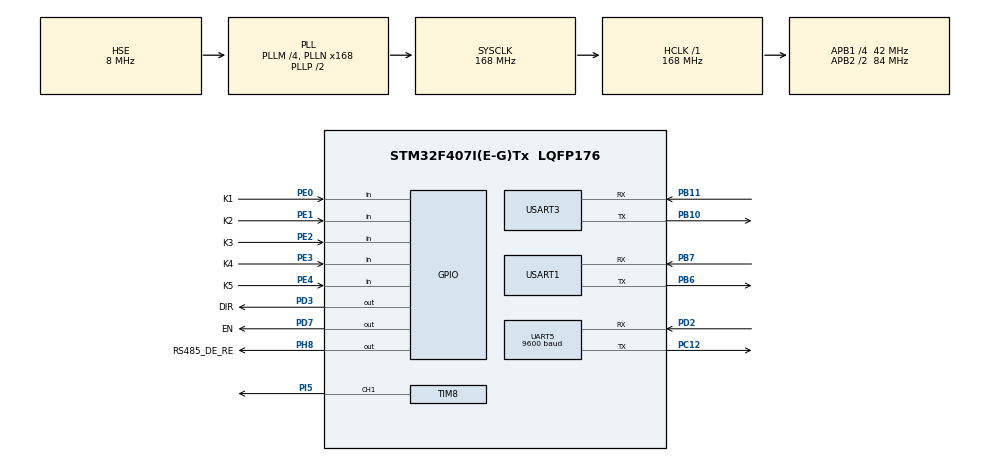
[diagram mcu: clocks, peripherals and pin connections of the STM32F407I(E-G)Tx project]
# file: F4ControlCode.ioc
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Dma.Request0=USART1_RX
Dma.Request1=USART1_TX
Dma.Request2=UART5_RX
Dma.Request3=UART5_TX
Dma.UART5_RX.2.Direction=DMA_PERIPH_TO_MEMORY
Dma.UART5_RX.2.FIFOMode=DMA_FIFOMODE_DISABLE
Dma.UART5_RX.2.Instance=DMA1_Stream0
Dma.UART5_RX.2.MemDataAlignment=DMA_MDATAALIGN_BYTE
Dma.UART5_RX.2.MemInc=DMA_MINC_ENABLE
Dma.UART5_RX.2.Mode=DMA_NORMAL
Dma.UART5_RX.2.PeriphDataAlignment=DMA_PDATAALIGN_BYTE
Dma.UART5_RX.2.PeriphInc=DMA_PINC_DISABLE
Dma.UART5_RX.2.Priority=DMA_PRIORITY_LOW
Dma.UART5_TX.3.Direction=DMA_MEMORY_TO_PERIPH
Dma.UART5_TX.3.FIFOMode=DMA_FIFOMODE_DISABLE
Dma.UART5_TX.3.Instance=DMA1_Stream7
Dma.UART5_TX.3.MemDataAlignment=DMA_MDATAALIGN_BYTE
Dma.UART5_TX.3.MemInc=DMA_MINC_ENABLE
Dma.UART5_TX.3.Mode=DMA_NORMAL
Dma.UART5_TX.3.PeriphDataAlignment=DMA_PDATAALIGN_BYTE
Dma.UART5_TX.3.PeriphInc=DMA_PINC_DISABLE
Dma.UART5_TX.3.Priority=DMA_PRIORITY_LOW
Dma.USART1_RX.0.Direction=DMA_PERIPH_TO_MEMORY
Dma.USART1_RX.0.FIFOMode=DMA_FIFOMODE_DISABLE
Dma.USART1_RX.0.Instance=DMA2_Stream2
Dma.USART1_RX.0.MemDataAlignment=DMA_MDATAALIGN_BYTE
Dma.USART1_RX.0.MemInc=DMA_MINC_ENABLE
Dma.USART1_RX.0.Mode=DMA_NORMAL
Dma.USART1_RX.0.PeriphDataAlignment=DMA_PDATAALIGN_BYTE
Dma.USART1_RX.0.PeriphInc=DMA_PINC_DISABLE
Dma.USART1_RX.0.Priority=DMA_PRIORITY_LOW
Dma.USART1_TX.1.Direction=DMA_MEMORY_TO_PERIPH
Dma.USART1_TX.1.FIFOMode=DMA_FIFOMODE_DISABLE
Dma.USART1_TX.1.Instance=DMA2_Stream7
Dma.USART1_TX.1.MemDataAlignment=DMA_MDATAALIGN_BYTE
Dma.USART1_TX.1.MemInc=DMA_MINC_ENABLE
Dma.USART1_TX.1.Mode=DMA_NORMAL
Dma.USART1_TX.1.PeriphDataAlignment=DMA_PDATAALIGN_BYTE
Dma.USART1_TX.1.PeriphInc=DMA_PINC_DISABLE
Dma.USART1_TX.1.Priority=DMA_PRIORITY_LOW
Mcu.Family=STM32F4
Mcu.Name=STM32F407I(E-G)Tx
Mcu.Package=LQFP176
NVIC.DMA1_Stream0_IRQn=true\:0\:0\:false\:false\:true\:false\:true
NVIC.DMA1_Stream7_IRQn=true\:0\:0\:false\:false\:true\:false\:true
NVIC.DMA2_Stream2_IRQn=true\:0\:0\:false\:false\:true\:false\:true
NVIC.DMA2_Stream7_IRQn=true\:0\:0\:false\:false\:true\:false\:true
NVIC.PriorityGroup=NVIC_PRIORITYGROUP_4
NVIC.TIM8_CC_IRQn=true\:1\:0\:true\:false\:true\:true\:true
NVIC.UART5_IRQn=true\:2\:0\:true\:false\:true\:true\:true
NVIC.USART1_IRQn=true\:3\:0\:true\:false\:true\:true\:true
PA13.Mode=Serial_Wire
PA13.Signal=SYS_JTMS-SWDIO
PA14.Mode=Serial_Wire
PA14.Signal=SYS_JTCK-SWCLK
PB10.Mode=Asynchronous
PB10.Signal=USART3_TX
PB11.Mode=Asynchronous
PB11.Signal=USART3_RX
PB6.Mode=Asynchronous
PB6.Signal=USART1_TX
PB7.Mode=Asynchronous
PB7.Signal=USART1_RX
PC12.Mode=Asynchronous
PC12.Signal=UART5_TX
PD2.Mode=Asynchronous
PD2.Signal=UART5_RX
PD3.GPIO_Label=DIR
PD3.Signal=GPIO_Output
PD7.GPIO_Label=EN
PD7.Signal=GPIO_Output
PE0.GPIO_Label=K1
PE0.GPIO_PuPd=GPIO_PULLUP
PE0.Signal=GPIO_Input
PE1.GPIO_Label=K2
PE1.GPIO_PuPd=GPIO_PULLUP
PE1.Signal=GPIO_Input
PE2.GPIO_Label=K3
PE2.GPIO_PuPd=GPIO_PULLUP
PE2.Signal=GPIO_Input
PE3.GPIO_Label=K4
PE3.GPIO_PuPd=GPIO_PULLUP
PE3.Signal=GPIO_Input
PE4.GPIO_Label=K5
PE4.GPIO_PuPd=GPIO_PULLUP
PE4.Signal=GPIO_Input
PH0-OSC_IN.Mode=HSE-External-Oscillator
PH0-OSC_IN.Signal=RCC_OSC_IN
PH1-OSC_OUT.Mode=HSE-External-Oscillator
PH1-OSC_OUT.Signal=RCC_OSC_OUT
PH8.GPIO_Label=RS485_DE_RE
PH8.GPIO_Speed=GPIO_SPEED_FREQ_MEDIUM
PH8.Signal=GPIO_Output
PI5.GPIO_Speed=GPIO_SPEED_FREQ_VERY_HIGH
PI5.Signal=S_TIM8_CH1
ProjectManager.HeapSize=0x200
ProjectManager.StackSize=0x400
ProjectManager.TargetToolchain=MDK-ARM V5.32
RCC.48MHZClocksFreq_Value=84000000
RCC.AHBFreq_Value=168000000
RCC.APB1CLKDivider=RCC_HCLK_DIV4
RCC.APB1Freq_Value=42000000
RCC.APB1TimFreq_Value=84000000
RCC.APB2CLKDivider=RCC_HCLK_DIV2
RCC.APB2Freq_Value=84000000
RCC.APB2TimFreq_Value=168000000
RCC.CortexFreq_Value=168000000
RCC.EnbaleCSS=true
RCC.HCLKFreq_Value=168000000
RCC.HSE_VALUE=8000000
RCC.HSI_VALUE=16000000
RCC.LSE_VALUE=32768
RCC.PLLM=4
RCC.PLLN=168
RCC.PLLSourceVirtual=RCC_PLLSOURCE_HSE
RCC.SYSCLKFreq_VALUE=168000000
RCC.SYSCLKSource=RCC_SYSCLKSOURCE_PLLCLK
RCC.VCOOutputFreq_Value=336000000
SH.S_TIM8_CH1.0=TIM8_CH1,Output Compare1 CH1
TIM8.Channel-Output\ Compare1\ CH1=TIM_CHANNEL_1
TIM8.OCMode_1=TIM_OCMODE_TOGGLE
TIM8.Prescaler=5
TIM8.Pulse-Output\ Compare1\ CH1=3000
UART5.BaudRate=9600
UART5.VirtualMode=Asynchronous
USART1.VirtualMode=VM_ASYNC
USART3.VirtualMode=VM_ASYNC
board=custom

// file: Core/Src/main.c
/* USER CODE BEGIN Header */
/**
 ******************************************************************************
 * @file           : main.c
 * @brief          : Main program body
 ******************************************************************************
 * @attention
 *
 * <h2><center>&copy; Copyright (c) 2021 STMicroelectronics.
 * All rights reserved.</center></h2>
 *
 * This software component is licensed by ST under BSD 3-Clause license,
 * the "License"; You may not use this file except in compliance with the
 * License. You may obtain a copy of the License at:
 *                        opensource.org/licenses/BSD-3-Clause
 *
 ******************************************************************************
 */
/* USER CODE END Header */
#include "main.h"
#include "dma.h"
#include "tim.h"
#include "usart.h"
#include "gpio.h"

/* USER CODE BEGIN Includes */
#include "HT4315.h"
#include "StepMotor.h"
#include "ForceSensor.h"
#include "key.h"
/* USER CODE END Includes */

/* USER CODE BEGIN PTD */
#define TXDCYCLE 50   // 数据发送周期;单位：ms
#define SAMPLING 0x01 // 采样标记
#define TXD 0x02      // 发送数据标记
/* USER CODE END PTD */

/* USER CODE BEGIN PV */
__IO uint8_t Time_Flag = 0; // 任务时间标记
/* USER CODE END PV */

void SystemClock_Config(void);
/* USER CODE BEGIN PFP */
void HAL_SYSTICK_Callback(void);
/* USER CODE END PFP */

int main(void)
{

  /* MCU Configuration--------------------------------------------------------*/

  /* Reset of all peripherals, Initializes the Flash interface and the Systick. */
  HAL_Init();

  /* Configure the system clock */
  SystemClock_Config();

  /* Initialize all configured peripherals */
  MX_GPIO_Init();
  MX_USART3_UART_Init();
  MX_DMA_Init();
  MX_USART1_UART_Init();
  MX_TIM8_Init();
  MX_UART5_Init();
  /* USER CODE BEGIN 2 */
  MotorDisable(); // 停机
  HAL_TIM_Base_Start(&htim8);
  HAL_TIM_OC_Start_IT(&htim8, TIM_CHANNEL_1);
  bsp_InitKeyVar();
  PID_init();
  /* USER CODE END 2 */

  /* Infinite loop */
  while (1)
  {

    /* USER CODE BEGIN 3 */
    bsp_KeyScan();
    StempMotorStateCtrol();
    if (recv_end_flag) //收到来自USB转串口的命令数据
    {
      vParseString(rx_buffer);
      restartRev1();
    }
    // 采样和控制周期为20ms
    if (Time_Flag & SAMPLING)
    {
      getSensor();
      Time_Flag &= ~SAMPLING;
    }
    if (recv_end_flag2) //收到力传感器的数据
    {
      StempMotorPIDCtrol(vParseSensor(Time_Flag & TXD));
      if (Time_Flag & TXD)
      {
        Time_Flag &= ~TXD;
      }
      restartRev2();
    }
  }
  /* USER CODE END 3 */
}

void SystemClock_Config(void)
{
  RCC_OscInitTypeDef RCC_OscInitStruct = {0};
  RCC_ClkInitTypeDef RCC_ClkInitStruct = {0};

  /** Configure the main internal regulator output voltage
   */
  __HAL_RCC_PWR_CLK_ENABLE();
  __HAL_PWR_VOLTAGESCALING_CONFIG(PWR_REGULATOR_VOLTAGE_SCALE1);
  /** Initializes the RCC Oscillators according to the specified parameters
   * in the RCC_OscInitTypeDef structure.
   */
  RCC_OscInitStruct.OscillatorType = RCC_OSCILLATORTYPE_HSE;
  RCC_OscInitStruct.HSEState = RCC_HSE_ON;
  RCC_OscInitStruct.PLL.PLLState = RCC_PLL_ON;
  RCC_OscInitStruct.PLL.PLLSource = RCC_PLLSOURCE_HSE;
  RCC_OscInitStruct.PLL.PLLM = 4;
  RCC_OscInitStruct.PLL.PLLN = 168;
  RCC_OscInitStruct.PLL.PLLP = RCC_PLLP_DIV2;
  RCC_OscInitStruct.PLL.PLLQ = 4;
  if (HAL_RCC_OscConfig(&RCC_OscInitStruct) != HAL_OK)
  {
    Error_Handler();
  }
  /** Initializes the CPU, AHB and APB buses clocks
   */
  RCC_ClkInitStruct.ClockType = RCC_CLOCKTYPE_HCLK | RCC_CLOCKTYPE_SYSCLK | RCC_CLOCKTYPE_PCLK1 | RCC_CLOCKTYPE_PCLK2;
  RCC_ClkInitStruct.SYSCLKSource = RCC_SYSCLKSOURCE_PLLCLK;
  RCC_ClkInitStruct.AHBCLKDivider = RCC_SYSCLK_DIV1;
  RCC_ClkInitStruct.APB1CLKDivider = RCC_HCLK_DIV4;
  RCC_ClkInitStruct.APB2CLKDivider = RCC_HCLK_DIV2;

  if (HAL_RCC_ClockConfig(&RCC_ClkInitStruct, FLASH_LATENCY_5) != HAL_OK)
  {
    Error_Handler();
  }
  /** Enables the Clock Security System*/
  HAL_RCC_EnableCSS();
}

/* USER CODE BEGIN 4 */
void HAL_SYSTICK_Callback(void)
{
  __IO static uint16_t time_count = 0; // 时间计数，每1ms增加一(与滴答定时器频率有关)
  // 每1ms自动增一
  time_count++;
  if (time_count % (SAMPLING_PERIOD) == 0) // 20ms读取一次力传感器数值
  {
    Time_Flag |= SAMPLING;
  }
  else if (time_count >= TXDCYCLE) // 1s发送一次数据
  {
    Time_Flag |= TXD;
    time_count = 0;
  }
}
/* USER CODE END 4 */

void Error_Handler(void)
{
  __disable_irq();
  while (1)
  {
  }
}

/************************ (C) COPYRIGHT STMicroelectronics *****END OF FILE****/
